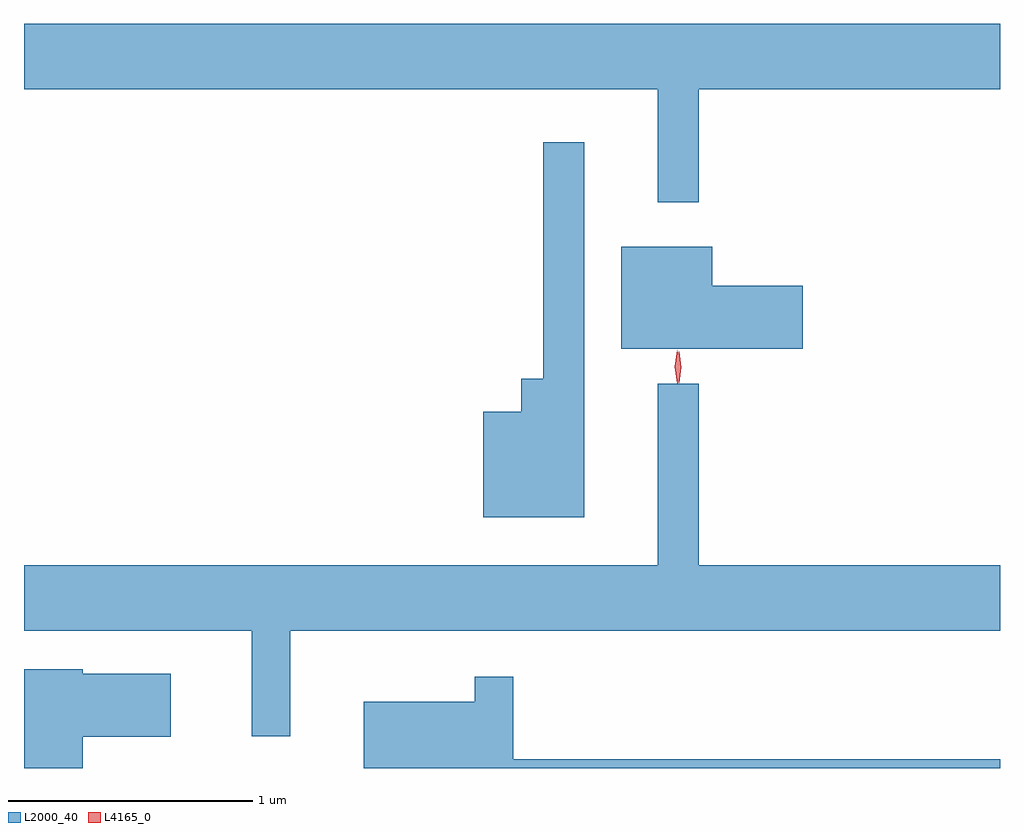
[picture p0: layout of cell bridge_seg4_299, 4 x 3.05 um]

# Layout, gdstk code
import gdstk
lib = gdstk.Library(unit=1e-6, precision=1e-09)
def P(c, l, *ps):  # polygons
    for p in ps: c.add(gdstk.Polygon(p, *l))
L2000_40 = (2000, 40)
L4165_0 = (4165, 0)

bridge_seg4_299 = lib.new_cell('bridge_seg4_299')
P(bridge_seg4_299, L2000_40, [(568.789,1259.216),(570.023,1259.216),(570.023,1259.484),(566.023,1259.484),(566.023,1259.216),(568.621,1259.216),(568.621,1258.753),(568.789,1258.753)],
  [(568.319,1258.998),(568.151,1258.998),(568.151,1258.029),(568.061,1258.029),(568.061,1257.894),(567.906,1257.894),(567.906,1257.461),(568.319,1257.461)],
  [(569.214,1258.409),(568.844,1258.409),(568.844,1258.569),(568.471,1258.569),(568.471,1258.151),(569.214,1258.151)],
  [(567.114,1256.996),(570.023,1256.996),(570.023,1257.264),(568.789,1257.264),(568.789,1258.008),(568.621,1258.008),(568.621,1257.264),(566.023,1257.264),(566.023,1256.996),(566.956,1256.996),(566.956,1256.563),(567.114,1256.563)],
  [(566.264,1256.561),(566.624,1256.561),(566.624,1256.819),(566.264,1256.819),(566.264,1256.839),(566.023,1256.839),(566.023,1256.432),(566.264,1256.432)],
  [(570.023,1256.469),(568.029,1256.469),(568.029,1256.808),(567.871,1256.808),(567.871,1256.704),(567.416,1256.704),(567.416,1256.432),(570.023,1256.432)])
P(bridge_seg4_299, L4165_0, [(568.707,1258.013),(568.707,1258.013),(568.697,1258.076),(568.707,1258.139),(568.707,1258.14),(568.708,1258.139),(568.717,1258.076),(568.708,1258.013)],
  [(568.701,1258.01),(568.691,1258.078),(568.7,1258.146),(568.7,1258.146),(568.701,1258.146),(568.711,1258.078),(568.702,1258.01),(568.702,1258.01)])

lib.write_gds('bridge_seg4_299.gds')
